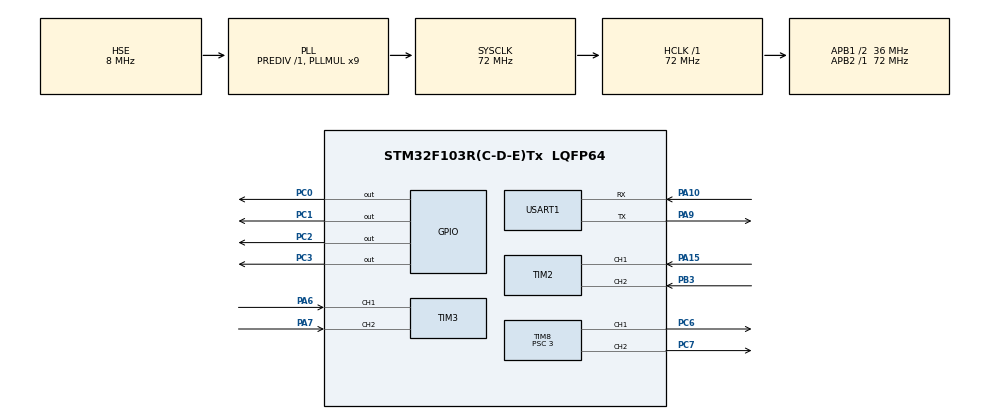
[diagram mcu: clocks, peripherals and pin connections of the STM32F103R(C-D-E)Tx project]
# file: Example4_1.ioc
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Dma.Request0=USART1_RX
Dma.Request1=USART1_TX
Dma.USART1_RX.0.Direction=DMA_PERIPH_TO_MEMORY
Dma.USART1_RX.0.Instance=DMA1_Channel5
Dma.USART1_RX.0.MemDataAlignment=DMA_MDATAALIGN_BYTE
Dma.USART1_RX.0.MemInc=DMA_MINC_ENABLE
Dma.USART1_RX.0.Mode=DMA_NORMAL
Dma.USART1_RX.0.PeriphDataAlignment=DMA_PDATAALIGN_BYTE
Dma.USART1_RX.0.PeriphInc=DMA_PINC_DISABLE
Dma.USART1_RX.0.Priority=DMA_PRIORITY_LOW
Dma.USART1_TX.1.Direction=DMA_MEMORY_TO_PERIPH
Dma.USART1_TX.1.Instance=DMA1_Channel4
Dma.USART1_TX.1.MemDataAlignment=DMA_MDATAALIGN_BYTE
Dma.USART1_TX.1.MemInc=DMA_MINC_ENABLE
Dma.USART1_TX.1.Mode=DMA_NORMAL
Dma.USART1_TX.1.PeriphDataAlignment=DMA_PDATAALIGN_BYTE
Dma.USART1_TX.1.PeriphInc=DMA_PINC_DISABLE
Dma.USART1_TX.1.Priority=DMA_PRIORITY_LOW
Mcu.Family=STM32F1
Mcu.Name=STM32F103R(C-D-E)Tx
Mcu.Package=LQFP64
NVIC.DMA1_Channel4_IRQn=true\:0\:0\:false\:false\:true\:false\:true\:true
NVIC.DMA1_Channel5_IRQn=true\:0\:0\:false\:false\:true\:false\:true\:true
NVIC.PriorityGroup=NVIC_PRIORITYGROUP_4
NVIC.TIM6_IRQn=true\:0\:0\:false\:false\:true\:true\:true\:true
NVIC.USART1_IRQn=true\:0\:0\:false\:false\:true\:true\:true\:true
PA10.Mode=Asynchronous
PA10.Signal=USART1_RX
PA13.Mode=Serial_Wire
PA13.Signal=SYS_JTMS-SWDIO
PA14.Mode=Serial_Wire
PA14.Signal=SYS_JTCK-SWCLK
PA15.Signal=S_TIM2_CH1_ETR
PA6.Signal=S_TIM3_CH1
PA7.Signal=S_TIM3_CH2
PA9.Mode=Asynchronous
PA9.Signal=USART1_TX
PB3.Signal=S_TIM2_CH2
PC0.Signal=GPIO_Output
PC1.Signal=GPIO_Output
PC2.Signal=GPIO_Output
PC3.Signal=GPIO_Output
PC6.Signal=S_TIM8_CH1
PC7.Signal=S_TIM8_CH2
PD0-OSC_IN.Mode=HSE-External-Oscillator
PD0-OSC_IN.Signal=RCC_OSC_IN
PD1-OSC_OUT.Mode=HSE-External-Oscillator
PD1-OSC_OUT.Signal=RCC_OSC_OUT
ProjectManager.HeapSize=0x200
ProjectManager.StackSize=0x400
ProjectManager.TargetToolchain=STM32CubeIDE
RCC.AHBFreq_Value=72000000
RCC.APB1CLKDivider=RCC_HCLK_DIV2
RCC.APB1Freq_Value=36000000
RCC.APB1TimFreq_Value=72000000
RCC.APB2Freq_Value=72000000
RCC.APB2TimFreq_Value=72000000
RCC.HCLKFreq_Value=72000000
RCC.PLLMUL=RCC_PLL_MUL9
RCC.PLLSourceVirtual=RCC_PLLSOURCE_HSE
RCC.SYSCLKFreq_VALUE=72000000
RCC.SYSCLKSource=RCC_SYSCLKSOURCE_PLLCLK
RCC.USBFreq_Value=72000000
SH.S_TIM2_CH1_ETR.0=TIM2_CH1,Encoder_Interface
SH.S_TIM2_CH2.0=TIM2_CH2,Encoder_Interface
SH.S_TIM3_CH1.0=TIM3_CH1,Encoder_Interface
SH.S_TIM3_CH2.0=TIM3_CH2,Encoder_Interface
SH.S_TIM8_CH1.0=TIM8_CH1,PWM Generation1 CH1
SH.S_TIM8_CH2.0=TIM8_CH2,PWM Generation2 CH2
TIM2.AutoReloadPreload=TIM_AUTORELOAD_PRELOAD_ENABLE
TIM2.EncoderMode=TIM_ENCODERMODE_TI12
TIM3.AutoReloadPreload=TIM_AUTORELOAD_PRELOAD_ENABLE
TIM3.EncoderMode=TIM_ENCODERMODE_TI12
TIM6.Period=7199
TIM6.Prescaler=499
TIM8.Channel-PWM\ Generation1\ CH1=TIM_CHANNEL_1
TIM8.Channel-PWM\ Generation2\ CH2=TIM_CHANNEL_2
TIM8.Period=999
TIM8.Prescaler=3
USART1.VirtualMode=VM_ASYNC
VP_TIM6_VS_ClockSourceINT.Mode=Enable_Timer
board=custom

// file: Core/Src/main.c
/* USER CODE BEGIN Header */
/**
  ******************************************************************************
  * @file           : main.c
  * @brief          : Main program body
  ******************************************************************************
  * @attention
  *
  * Copyright (c) 2023 STMicroelectronics.
  * All rights reserved.
  *
  * This software is licensed under terms that can be found in the LICENSE file
  * in the root directory of this software component.
  * If no LICENSE file comes with this software, it is provided AS-IS.
  *
  ******************************************************************************
  */
/* USER CODE END Header */
#include "main.h"
#include "dma.h"
#include "tim.h"
#include "usart.h"
#include "gpio.h"

/* USER CODE BEGIN Includes */
#include "string.h"
#include "stdlib.h"
/* USER CODE END Includes */

/* USER CODE BEGIN PD */
#define m_DirPort GPIOC
#define AIN1 GPIO_PIN_0
#define AIN2 GPIO_PIN_1
#define BIN1 GPIO_PIN_2
#define BIN2 GPIO_PIN_3

#define filterNum 3

#define Velocity_Kp 4.0
#define Velocity_Ki 2.0
#define Velocity_Kd 0.2

#define limit_value 1200
/* USER CODE END PD */

/* USER CODE BEGIN PV */
short encoderPulse[2] = {0};
short last_encoderPulse[2] = {0};
short leftEncoder[filterNum] = {0};
short rightEncoder[filterNum] = {0};
short encoderValue[2] = {0};

float leftTargetSpeed = 0;
float rightTargetSpeed = 0;
/* USER CODE END PV */

void SystemClock_Config(void);
/* USER CODE BEGIN PFP */

PID LeftMotor_PID;
PID RightMotor_PID;
/* USER CODE END PFP */

/* USER CODE BEGIN 0 */
int myabs(int a)
{
	int temp;
	if(a<0)
	  temp=-a;
	else
	  temp=a;
	return temp;
}

//电机初始化
void MotorInit()
{
	HAL_TIM_PWM_Start(&htim8,TIM_CHANNEL_1);  //启动定时器8的PWM模式
	HAL_TIM_PWM_Start(&htim8,TIM_CHANNEL_2);

	HAL_TIM_Encoder_Start(&htim2,TIM_CHANNEL_1);  //启动定时器2的编码器模式
	HAL_TIM_Encoder_Start(&htim2,TIM_CHANNEL_2);

	HAL_TIM_Encoder_Start(&htim3,TIM_CHANNEL_1);  //启动定时器3的编码器模式
	HAL_TIM_Encoder_Start(&htim3,TIM_CHANNEL_2);
}

void Left_Go()
{
		HAL_GPIO_WritePin(m_DirPort,AIN1,GPIO_PIN_SET);
		HAL_GPIO_WritePin(m_DirPort,AIN2,GPIO_PIN_RESET);
}

void Right_Go()
{
		HAL_GPIO_WritePin(m_DirPort,BIN1,GPIO_PIN_SET);
		HAL_GPIO_WritePin(m_DirPort,BIN2,GPIO_PIN_RESET);
}

void Left_Back()
{
		HAL_GPIO_WritePin(m_DirPort,AIN1,GPIO_PIN_RESET);
		HAL_GPIO_WritePin(m_DirPort,AIN2,GPIO_PIN_SET);
}

void Right_Back()
{
		HAL_GPIO_WritePin(m_DirPort,BIN1,GPIO_PIN_RESET);
		HAL_GPIO_WritePin(m_DirPort,BIN2,GPIO_PIN_SET);
}

void Go_Back()
{
		HAL_GPIO_WritePin(m_DirPort,AIN1,GPIO_PIN_RESET);
		HAL_GPIO_WritePin(m_DirPort,AIN2,GPIO_PIN_SET);

		HAL_GPIO_WritePin(m_DirPort,BIN1,GPIO_PIN_RESET);
		HAL_GPIO_WritePin(m_DirPort,BIN2,GPIO_PIN_SET);
}

void Left_Stop()
{
		HAL_GPIO_WritePin(m_DirPort,AIN1,GPIO_PIN_RESET);
		HAL_GPIO_WritePin(m_DirPort,AIN2,GPIO_PIN_RESET);
}

void Right_Stop()
{
		HAL_GPIO_WritePin(m_DirPort,BIN1,GPIO_PIN_RESET);
		HAL_GPIO_WritePin(m_DirPort,BIN2,GPIO_PIN_RESET);
}

//电机控制
void MotorControl(int leftPWM, int rightPWM)
{
	if( leftPWM >= 0)
	{
		Left_Go();
	}else
	{
		Left_Back();
	}
  __HAL_TIM_SET_COMPARE(&htim8, TIM_CHANNEL_1, myabs(leftPWM));

	if(rightPWM >= 0)
	{
		Right_Go();
	}else
	{
		Right_Back();
	}
	  __HAL_TIM_SET_COMPARE(&htim8, TIM_CHANNEL_2, myabs(rightPWM));

}

//计算速度  cm/s
float CalActualSpeed(int pulse)
{
    return (float)(0.3092424 * pulse);
}

/**
@brief      根据实际速度计算脉冲数
@param      speed 速度，单位是 cm/s。
@return

*/
int CalActualPulse(float speed)
{
    return (int)(speed/0.003092424);//*26.821191
}

/**
* @brief    十六进制转换为十进制
						主要是将接收到的电机速度转换为十进制数进行调速
* @param  	hex 传入的十六进制数组，length 需要的数组长度
* @retval 	result 返回的数组
*/
int HextoDec(const unsigned char *hex, int length)
{
	int rslt = 0;

	for(int i=0; i<length; i++)
	{
		rslt += (unsigned long)(hex[i])<<(8*(length-1-i));
	}

	return rslt;
}

/**
* @brief	均值滤波
*	@param 需要滤波的数组，滤波次数
*	@retval 滤波后的值
*/
int AverageFilter(short *array, uint8_t num)//均值滤波
{
    int tmp = 0;
    uint8_t  i;
    for(i = 0; i < num; i++)
    tmp += array[i];
    tmp = tmp / num;
    return tmp;
}

/**
* @brief   获取电机编码器的脉冲值
* @param  	None
* @retval 	存放经过滤波后的编码器脉冲值
*/
void GetEncoderPulse()
{
	uint8_t i = filterNum - 1;
	for(;i > 0;i--)
	{
		leftEncoder[i-1] = leftEncoder[i];  //使用数组来保存两次的编码值
		rightEncoder[i-1] = rightEncoder[i];  //最后一个用于保留上一次的值
	}
	  leftEncoder[filterNum-1] = -((short)__HAL_TIM_GET_COUNTER(&htim2));
    rightEncoder[filterNum-1] = -((short)__HAL_TIM_GET_COUNTER(&htim3));

    last_encoderPulse[0] = encoderPulse[0];
    last_encoderPulse[1] = encoderPulse[1];

	  encoderPulse[0] = AverageFilter(leftEncoder, filterNum);  //左电机的编码器值
    encoderPulse[1] = AverageFilter(rightEncoder, filterNum);  //右电机的编码器值

    encoderValue[0] = encoderPulse[0]-last_encoderPulse[0];
    encoderValue[1] = encoderPulse[1]-last_encoderPulse[1];

     if(encoderPulse[0]>32000||encoderPulse[0]<-32000)
     {
       TIM2->CNT = 0;
     }
     if(encoderPulse[1]>32000||encoderPulse[1]<-32000)
     {
       TIM3->CNT = 0;
     }

//    __HAL_TIM_GET_COUNTER(&htim2) = 0;	 //计数值重新清零
//    __HAL_TIM_GET_COUNTER(&htim3) = 0;
}

/**
  * @brief  PID相关参数的初始化
  * @param  PID的结构体指针
  */
void PID_Init(PID *p)
{
    p->Kp = Velocity_Kp;
    p->Ki = Velocity_Ki;
    p->Kd = Velocity_Kd;
    p->last_error = 0;
    p->prev_error = 0;
    p->limit = limit_value;
    p->pwm_add = 0;
}

 /**
  * @brief  PID相关参数的初始化
  * @param  PID的结构体指针
  */
int PID_Cal(int targetSpeed,int currentSpeed,PID *p)
{
    int error = targetSpeed - currentSpeed;
    if(error>50)error=0;
    if(error<-50)error=0;  //避免跳动
    p->pwm_add += p->Kp*(error - p->last_error) + p->Ki*error + p->Kd*(error - 2*p->last_error+p->prev_error);

		p->prev_error = p->last_error;
	  p->last_error = error;

		if(p->pwm_add>p->limit) p->pwm_add=p->limit;
		if(p->pwm_add<-p->limit) p->pwm_add=-p->limit;
}

/* USER CODE END 0 */

int main(void)
{

  /* MCU Configuration--------------------------------------------------------*/

  /* Reset of all peripherals, Initializes the Flash interface and the Systick. */
  HAL_Init();

  /* Configure the system clock */
  SystemClock_Config();

  /* Initialize all configured peripherals */
  MX_GPIO_Init();
  MX_DMA_Init();
  MX_TIM2_Init();
  MX_TIM3_Init();
  MX_TIM6_Init();
  MX_TIM8_Init();
  MX_USART1_UART_Init();
  /* USER CODE BEGIN 2 */
  __HAL_UART_ENABLE_IT(&huart1, UART_IT_IDLE); //使能IDLE中断
  HAL_UART_Receive_DMA(&huart1,uart1_rx_buffer,BUFFER_SIZE);//DMA接收函数，此句一定要加，不加接收不到第一次传进来的实数据是空的
  HAL_TIM_Base_Start_IT(&htim6);

  PID_Init(&LeftMotor_PID);
  PID_Init(&RightMotor_PID);

  MotorInit();
  /* USER CODE END 2 */

  /* Infinite loop */
  while (1)
  {

    /* USER CODE BEGIN 3 */
	  if(recv_end_flag == 1)
	  	{
	  	  if(uart1_rx_buffer[0] == 0x6d)
	  	  {
	  	    if(rx_len <=9)
	  	    {
	  	      leftTargetSpeed = atof(uart1_rx_buffer+1);  //将接收的字符串转换为float类型
	  	      rightTargetSpeed = atof(uart1_rx_buffer+4);
	  	      if(uart1_rx_buffer[2] == 0x2d)
	  	      {
	  	        leftTargetSpeed = atof(uart1_rx_buffer+1);  //将接收的字符串转换为float类型
	  	        rightTargetSpeed = atof(uart1_rx_buffer+5);
	  	      }
	  	    }
	  	    else if(rx_len > 9)
	  	    {
	  	      leftTargetSpeed = atof(uart1_rx_buffer+1);
	  	      rightTargetSpeed = atof(uart1_rx_buffer+5);
	  	    }

	  	    printf("OK\r\n");
	  	  }
	  	  else if(uart1_rx_buffer[0] == 0x65)
	  	  {
	  	    int leftPulse=0,rightPulse=0;
	  	    leftPulse = encoderPulse[0];
	  	    rightPulse = encoderPulse[1];
	  	    printf("%d %d\r\n",leftPulse,rightPulse);
	  	  }
	  	  //      else if(uart1_rx_buffer[0] == 0x73)
	  	  //      {
	  	  //        TIM2->CNT=0;
	  	  //        TIM3->CNT=0;
	  	  //      }
	  	  recv_end_flag = 0;
	  	  rx_len = 0;
	  	  memset(uart1_rx_buffer,0,rx_len);
	  	}
  }
  /* USER CODE END 3 */
}

void SystemClock_Config(void)
{
  RCC_OscInitTypeDef RCC_OscInitStruct = {0};
  RCC_ClkInitTypeDef RCC_ClkInitStruct = {0};

  /** Initializes the RCC Oscillators according to the specified parameters
  * in the RCC_OscInitTypeDef structure.
  */
  RCC_OscInitStruct.OscillatorType = RCC_OSCILLATORTYPE_HSE;
  RCC_OscInitStruct.HSEState = RCC_HSE_ON;
  RCC_OscInitStruct.HSEPredivValue = RCC_HSE_PREDIV_DIV1;
  RCC_OscInitStruct.HSIState = RCC_HSI_ON;
  RCC_OscInitStruct.PLL.PLLState = RCC_PLL_ON;
  RCC_OscInitStruct.PLL.PLLSource = RCC_PLLSOURCE_HSE;
  RCC_OscInitStruct.PLL.PLLMUL = RCC_PLL_MUL9;
  if (HAL_RCC_OscConfig(&RCC_OscInitStruct) != HAL_OK)
  {
    Error_Handler();
  }

  /** Initializes the CPU, AHB and APB buses clocks
  */
  RCC_ClkInitStruct.ClockType = RCC_CLOCKTYPE_HCLK|RCC_CLOCKTYPE_SYSCLK
                              |RCC_CLOCKTYPE_PCLK1|RCC_CLOCKTYPE_PCLK2;
  RCC_ClkInitStruct.SYSCLKSource = RCC_SYSCLKSOURCE_PLLCLK;
  RCC_ClkInitStruct.AHBCLKDivider = RCC_SYSCLK_DIV1;
  RCC_ClkInitStruct.APB1CLKDivider = RCC_HCLK_DIV2;
  RCC_ClkInitStruct.APB2CLKDivider = RCC_HCLK_DIV1;

  if (HAL_RCC_ClockConfig(&RCC_ClkInitStruct, FLASH_LATENCY_2) != HAL_OK)
  {
    Error_Handler();
  }
}

/* USER CODE BEGIN 4 */
void HAL_TIM_PeriodElapsedCallback(TIM_HandleTypeDef *htim)  //定时器6中断回调函数
{
	float c_leftSpeed,c_rightSpeed;
  if(htim==(&htim6))
  {
		GetEncoderPulse();

		c_leftSpeed = CalActualSpeed(encoderValue[0]);   //获得当前的速度值
		c_rightSpeed = CalActualSpeed(encoderValue[1]);
//    printf("leftpulse%d\r\n",encoderPulse[0]);
//    printf("rightpulse%d\r\n",encoderPulse[1]);
		PID_Cal(leftTargetSpeed,c_leftSpeed,&LeftMotor_PID);
		PID_Cal(rightTargetSpeed,c_rightSpeed,&RightMotor_PID);

		MotorControl(LeftMotor_PID.pwm_add,RightMotor_PID.pwm_add);  //PID调节

    if(leftTargetSpeed==0)
    {
      LeftMotor_PID.pwm_add = 0;  //PID增量清零
    }
    if(rightTargetSpeed==0)
    {
      RightMotor_PID.pwm_add = 0;
    }
//    memset(encoder,0,4);
//    printf("llll.pwmadd%d\r\n",LeftMotor_PID.pwm_add);
//    printf("rrrr.pwmadd%d\r\n",RightMotor_PID.pwm_add);
//     printf("lefttarget is:%.2f\r\n",leftTargetSpeed);
//		 printf("righttarget is:%.2f\r\n",rightTargetSpeed);
//	  printf("----------------------------\r\n");
//		 printf("{currentLeftSpeed is:%.2f}\r\n",c_leftSpeed);
//		 printf("{currentrightSpeed is:%.2f}\r\n",c_rightSpeed);
//     printf("----------------------------\r\n");
  }
}
/* USER CODE END 4 */

void Error_Handler(void)
{
  __disable_irq();
  while (1)
  {
  }
}
